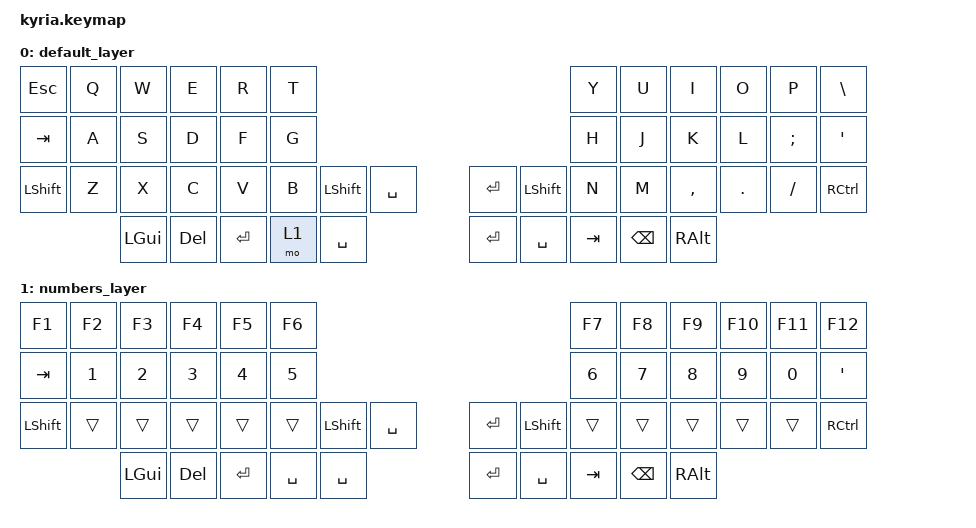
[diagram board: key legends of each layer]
/*
 * Copyright (c) 2020 The ZMK Contributors
 *
 * SPDX-License-Identifier: MIT
 *
 * Keycodes: https://zmk.dev/docs/codes
 */

#include <behaviors.dtsi>
#include <dt-bindings/zmk/keys.h>

/ {
	keymap {
		compatible = "zmk,keymap";

		default_layer {
// ---------------------------------------------------------------------------------------------------------------------------------
// |  ESC  |  Q  |  W  |  E   |  R   |  T   |                                          |  Y   |  U    |  I    |  O   |   P   |   \  |
// |  TAB  |  A  |  S  |  D   |  F   |  G   |                                          |  H   |  J    |  K    |  L   |   ;   |   '  |
// | SHIFT |  Z  |  X  |  C   |  V   |  B   | L SHIFT       |   SPACE  |  |   RET   | L SHIFT |  N   |  M    |  ,    |  .   |   /   | CTRL |
//                     | GUI  | DEL  | RET  | numbers_layer |   SPACE  |  |   RET   |  SPACE  | TAB  | BSPC  | R-ALT |
			bindings = <
	&kp ESC   &kp Q &kp W &kp E &kp R &kp T                                                &kp Y &kp U  &kp I     &kp O   &kp P    &kp BSLH
	&kp TAB   &kp A &kp S &kp D &kp F &kp G                                                &kp H &kp J  &kp K     &kp L   &kp SEMI &kp SQT
	&kp LSHFT &kp Z &kp X &kp C &kp V &kp B &kp LSHFT &kp SPACE        &kp RET &kp LSHFT &kp N &kp M  &kp COMMA &kp DOT &kp FSLH &kp RCTRL
	                 &kp LGUI &kp DEL &kp RET &mo 1 &kp SPACE        &kp RET  &kp SPACE  &kp TAB &kp BSPC &kp RALT
			>;
		};
		numbers_layer {
// ---------------------------------------------------------------------------------------------------------------------------------
// |  F1   |  F2 |  F3  |  F4  |  F5  |  F6  |                                           | F7   |   F8  |  F9   |   F1O |  F11 |  F12 |
// |  TAB  |  1  |  2   |  3   |  4   |  5   |                                           | 6    |   7   |  8    |   9   |  0   |   '  |
// | SHIFT |     |      |      |      |      | L SHIFT |   SPACE   |   |   RET   | L SHIFT |      |       |       |       |      | CTRL |
//                      | GUI  | DEL  | RET  |  SPACE  |   SPACE   |   |   RET   |  SPACE  | TAB  | BSPC  | R-ALT |
			bindings = <
	&kp F1   &kp F2 &kp F3 &kp F4 &kp F5 &kp F6                                                &kp F7 &kp F8  &kp F9  &kp F10   &kp F11  &kp F12
	&kp TAB   &kp N1 &kp N2 &kp N3 &kp N4 &kp N5                                                &kp N6 &kp N7  &kp N8     &kp N9   &kp N0 &kp SQT
	&kp LSHFT &trans &trans &trans &trans &trans &kp LSHFT &kp SPACE        &kp RET &kp LSHFT &trans &trans &trans &trans &trans &kp RCTRL
	                 &kp LGUI &kp DEL &kp RET &kp SPACE &kp SPACE        &kp RET  &kp SPACE  &kp TAB &kp BSPC &kp RALT
			>;
		};
	};
};
